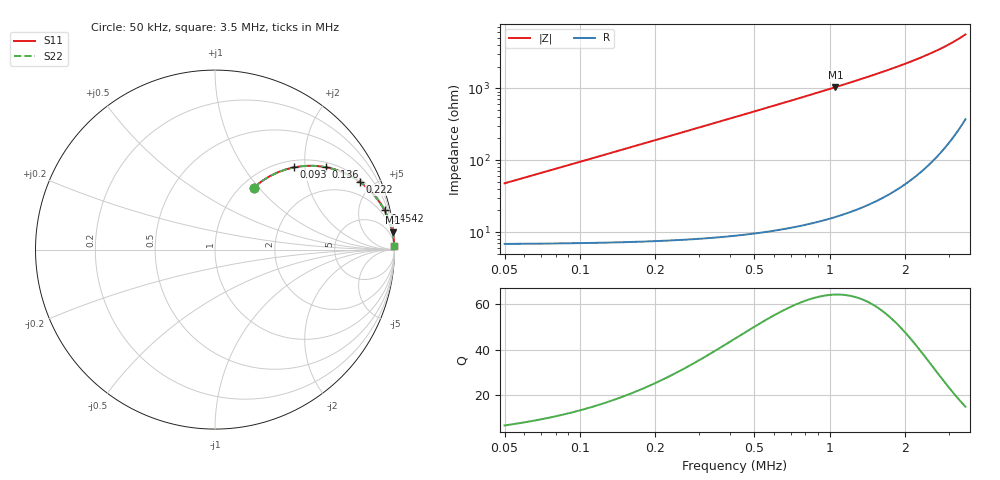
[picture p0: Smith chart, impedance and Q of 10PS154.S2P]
! Coilcraft 1008PS-154 Power Chip Inductor
! 7 October 2002
# MHZ S MA R 50
!Freq  MagS11  AngS11  MagS21  AngS21  MagS12  AngS12  MagS22  AngS22
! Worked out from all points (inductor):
!   403 points, 50 kHz to 3.5 MHz, reference 50 ohm
!   read as one part in series: L = 150 uH near 67.2 kHz
!   highest Q = 64 at 1.056 MHz (marker M1), where L = 156 uH
!   S11 on the Smith chart (normalised r, x): 50 kHz: 1.14, +0.94; 93 kHz: 1.14, +1.75; 136 kHz: 1.14, +2.57; 222 kHz: 1.15, +4.19; 454.2 kHz: 1.18, +8.62; 3.5 MHz: open
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0.05  0.4078 58.0  0.8565 -23.8  0.8565 -23.8  0.4078 58.0
0.0672  0.5128 53.1  0.8049 -30.7  0.8049 -30.7  0.5128 53.1
0.0758  0.5583 50.7  0.7777 -33.8  0.7777 -33.8  0.5583 50.7
0.093  0.6359 46.1  0.723 -39.3  0.723 -39.3  0.6359 46.1
0.1102  0.6981 42.0  0.6703 -44.1  0.6703 -44.1  0.6981 42.0
0.136  0.7686 36.7  0.5984 -50.1  0.5984 -50.1  0.7686 36.7
0.1532  0.8041 33.7  0.5557 -53.4  0.5557 -53.4  0.8041 33.7
0.179  0.8447 29.9  0.4997 -57.6  0.4997 -57.6  0.8447 29.9
0.222  0.8902 25.1  0.4245 -62.8  0.4245 -62.8  0.8902 25.1
0.265  0.9189 21.5  0.3669 -66.7  0.3669 -66.7  0.9189 21.5
0.3166  0.9409 18.3  0.3141 -70.1  0.3141 -70.1  0.9409 18.3
0.3768  0.957 15.5  0.2681 -73.1  0.2681 -73.1  0.957 15.5
0.4542  0.9696 13.0  0.2249 -75.8  0.2249 -75.8  0.9696 13.0
0.6262  0.9835 9.5  0.1644 -79.5  0.1644 -79.5  0.9835 9.5
0.824  0.9902 7.2  0.1246 -81.9  0.1246 -81.9  0.9902 7.2
1.0562  0.9939 5.5  0.09609 -83.6  0.09609 -83.6  0.9939 5.5
1.2024  0.9952 4.8  0.08354 -84.3  0.08354 -84.3  0.9952 4.8
1.469  0.9967 3.8  0.06676 -85.2  0.06676 -85.2  0.9967 3.8
1.7786  0.9976 3.0  0.05318 -85.9  0.05318 -85.9  0.9976 3.0
2.3548  0.9984 2.1  0.0366 -86.4  0.0366 -86.4  0.9984 2.1
2.931  0.9986 1.5  0.02573 -86.2  0.02573 -86.2  0.9986 1.5
3.5  0.9987 1.0  0.01786 -85.2  0.01786 -85.2  0.9987 1.0
